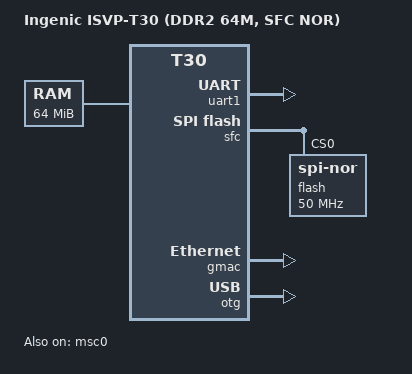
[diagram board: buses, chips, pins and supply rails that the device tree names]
// SPDX-License-Identifier: GPL-2.0+

/dts-v1/;

#include <dt-bindings/gpio/gpio.h>
#include "t30.dtsi"

/ {
	compatible = "ingenic,isvp-t30", "ingenic,t30";
	model = "Ingenic ISVP-T30 (DDR2 64M, SFC NOR)";

	aliases {
		serial1 = &uart1;
	};

	chosen {
		stdout-path = "serial1:115200n8";
	};

	memory {
		device_type = "memory";
		reg = <0x0 0x04000000>;	/* 64 MB DDR2 (T30N) */
	};
};

&uart1 {
	status = "okay";
};

&sfc {
	status = "okay";

	flash@0 {
		compatible = "jedec,spi-nor";
		reg = <0>;
		spi-max-frequency = <50000000>;
	};
};

&msc0 {
	status = "okay";
	bus-width = <4>;
	broken-cd;	/* no card-detect line wired on the ISVP board */
};

&gmac {
	status = "okay";
	/* PHY reset GPIO; exact pin varies per board, override per device. */
	ingenic,reset-gpio = <&gpb 28 GPIO_ACTIVE_LOW>;
};

&otg {
	status = "okay";
};
